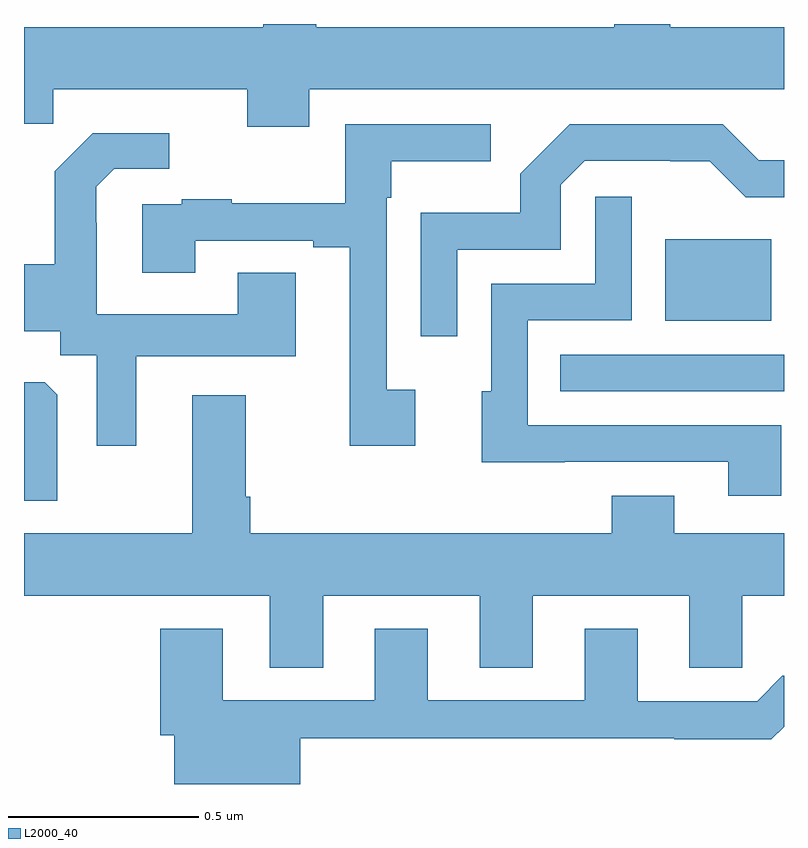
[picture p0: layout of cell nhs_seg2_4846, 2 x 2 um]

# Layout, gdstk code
import gdstk
lib = gdstk.Library(unit=1e-6, precision=1e-09)
def R(c, l, rs):  # rectangles x0, y0, x1, y1
    for r in rs: c.add(gdstk.rectangle(r[:2], r[2:], *l))
def P(c, l, *ps):  # polygons
    for p in ps: c.add(gdstk.Polygon(p, *l))
L2000_40 = (2000, 40)

nhs_seg2_4846 = lib.new_cell('nhs_seg2_4846')
R(nhs_seg2_4846, L2000_40, [(172.411,654.834,173,654.93), (172.688,655.019,172.966,655.234)])
P(nhs_seg2_4846, L2000_40, [(171.751,655.628),(173,655.628),(173,655.792),(172.701,655.792),(172.701,655.8),(172.553,655.8),(172.553,655.792),(171.769,655.792),(171.769,655.8),(171.629,655.8),(171.629,655.792),(171,655.792),(171,655.538),(171.077,655.538),(171.077,655.628),(171.587,655.628),(171.587,655.529),(171.751,655.529)],
  [(172.03,654.838),(171.954,654.838),(171.954,655.343),(171.967,655.343),(171.967,655.439),(172.228,655.439),(172.228,655.536),(171.846,655.536),(171.846,655.328),(171.547,655.328),(171.547,655.339),(171.415,655.339),(171.415,655.326),(171.311,655.326),(171.311,655.146),(171.451,655.146),(171.451,655.23),(171.761,655.23),(171.761,655.212),(171.857,655.212),(171.857,654.69),(172.03,654.69)],
  [(172.14,655.206),(172.413,655.206),(172.413,655.377),(172.476,655.44),(172.7,655.44),(172.7,655.439),(172.805,655.439),(172.899,655.344),(173,655.344),(173,655.442),(172.934,655.442),(172.839,655.536),(172.436,655.536),(172.306,655.406),(172.306,655.303),(172.044,655.303),(172.044,654.978),(172.14,654.978)],
  [(171.295,654.926),(171.715,654.926),(171.715,655.145),(171.563,655.145),(171.563,655.036),(171.192,655.036),(171.192,655.277),(171.19,655.277),(171.19,655.372),(171.237,655.419),(171.382,655.419),(171.382,655.513),(171.181,655.513),(171.081,655.413),(171.081,655.168),(171,655.168),(171,654.992),(171.096,654.992),(171.096,654.928),(171.191,654.928),(171.191,654.69),(171.295,654.69)],
  [(172.993,654.744),(172.326,654.744),(172.326,655.02),(172.599,655.02),(172.599,655.345),(172.503,655.345),(172.503,655.116),(172.23,655.116),(172.23,654.834),(172.205,654.834),(172.205,654.647),(172.423,654.647),(172.423,654.648),(172.853,654.648),(172.853,654.558),(172.993,654.558)],
  [(171.087,654.825),(171.055,654.857),(171,654.857),(171,654.545),(171.087,654.545)],
  [(172.547,654.559),(172.547,654.46),(171.596,654.46),(171.596,654.556),(171.583,654.556),(171.583,654.823),(171.443,654.823),(171.443,654.46),(171,654.46),(171,654.296),(171.647,654.296),(171.647,654.106),(171.787,654.106),(171.787,654.296),(172.199,654.296),(172.199,654.106),(172.339,654.106),(172.339,654.296),(172.751,654.296),(172.751,654.106),(172.89,654.106),(172.89,654.296),(173,654.296),(173,654.46),(172.711,654.46),(172.711,654.559)],
  [(171.727,653.92),(172.711,653.92),(172.711,653.918),(172.967,653.918),(173,653.951),(173,654.085),(172.996,654.085),(172.929,654.018),(172.615,654.018),(172.615,654.208),(172.475,654.208),(172.475,654.021),(172.063,654.021),(172.063,654.208),(171.923,654.208),(171.923,654.021),(171.523,654.021),(171.523,654.208),(171.359,654.208),(171.359,653.928),(171.395,653.928),(171.395,653.8),(171.727,653.8)])

lib.write_gds('nhs_seg2_4846.gds')
